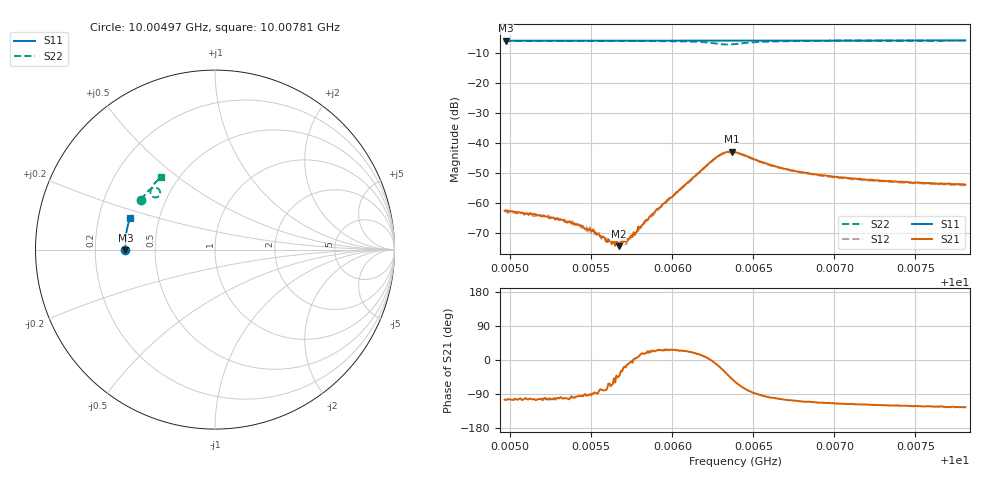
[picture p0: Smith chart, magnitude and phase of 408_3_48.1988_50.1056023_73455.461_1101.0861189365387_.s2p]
#  HZ  S  RI  R  50.00
! Rohde & Schwarz Vector Network Analyzer
! Rohde-Schwarz,ZNB20-2Port,1311601062101988,3.16
! Created: UTC 3/20/2024, 11:54:19 AM
! freq[Hz]  re:S11  im:S11  re:S21  im:S21  re:S12  im:S12  re:S22  im:S22
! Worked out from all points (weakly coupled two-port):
!   401 points, 10.00497 GHz to 10.00781 GHz, reference 50 ohm
!   highest |S21| = -42.96 dB at 10.00637 GHz (marker M1); lowest = -74.4 dB at 10.00567 GHz (marker M2)
!   lowest |S11| = -6.0 dB at 10.00497 GHz (marker M3), VSWR 3.00, Z = 16.7 - j0.187 ohm
!   |S11| at or under -10 dB: nowhere
!   |S22| runs from -7.3 to -6.0 dB; largest |S21 - S12| = 0.00043
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1.0004965e10  -0.4996 -0.00463  -0.000186 -0.000718  -0.000148 -0.000695  -0.4105 0.2755
1.0004972e10  -0.4995 -0.0042  -0.000206 -0.000728  -0.000121 -0.000709  -0.4103 0.2758
1.0005221e10  -0.4999 0.012  -0.000145 -0.000573  -9.95e-05 -0.000564  -0.401 0.2905
1.0005321e10  -0.4998 0.0186  -0.000105 -0.000511  -0.000108 -0.000492  -0.397 0.2964
1.0005441e10  -0.4998 0.0264  -3.22e-05 -0.000415  -9.27e-06 -0.000392  -0.3919 0.3036
1.0005477e10  -0.4997 0.0287  -1.85e-05 -0.000371  -1.17e-05 -0.000334  -0.3902 0.3057
1.0005505e10  -0.4996 0.0306  1.11e-05 -0.000338  2.01e-05 -0.000319  -0.3891 0.3076
1.0005541e10  -0.4997 0.0328  9.4e-06 -0.000303  5.21e-05 -0.000306  -0.3873 0.3096
1.0005598e10  -0.4994 0.0365  5.67e-05 -0.000216  7.8e-05 -0.000233  -0.3845 0.3132
1.0005669e10  -0.4992 0.0411  0.000138 -0.000131  0.000183 -0.00011  -0.3807 0.3175
1.0005712e10  -0.4992 0.0438  0.000213 -7.64e-05  0.000193 -6.56e-05  -0.3784 0.3202
1.0005768e10  -0.4989 0.0477  0.000293 1.51e-05  0.000315 6.6e-06  -0.3751 0.3237
1.0005804e10  -0.4987 0.05  0.00039 0.000103  0.000367 0.00012  -0.3728 0.3262
1.0005918e10  -0.4981 0.0572  0.000741 0.000358  0.000707 0.000378  -0.3644 0.3335
1.0006259e10  -0.4953 0.0792  0.00538 -0.000609  0.00528 -0.000308  -0.309 0.3307
1.0006316e10  -0.4948 0.0825  0.00596 -0.00313  0.00599 -0.00279  -0.3066 0.3082
1.0006365e10  -0.4944 0.0855  0.00467 -0.00537  0.00482 -0.00502  -0.3215 0.2925
1.0006387e10  -0.4942 0.0867  0.00375 -0.00587  0.004 -0.00559  -0.3303 0.2906
1.0006635e10  -0.4922 0.1025  -0.000746 -0.00399  -0.00057 -0.00397  -0.3586 0.3305
1.0006863e10  -0.4896 0.1171  -0.00108 -0.00283  -0.00094 -0.00285  -0.3487 0.3525
1.0007339e10  -0.4824 0.147  -0.00116 -0.00201  -0.001 -0.00202  -0.3248 0.3812
1.0007808e10  -0.4736 0.1759  -0.00114 -0.00166  -0.00103 -0.00166  -0.3009 0.4032
